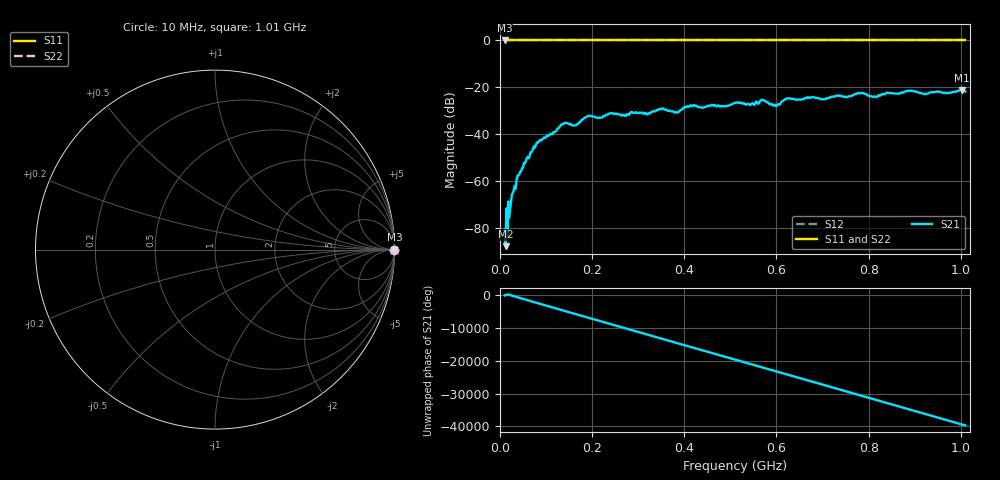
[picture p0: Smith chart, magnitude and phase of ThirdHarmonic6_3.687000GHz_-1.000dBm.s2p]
! 8/17/2025 12:30:02 PM
! C:\ANRITSUVNA\TEMP\TEMP.S2P
! CHANNEL.1
! TR.MEASUREMENT
! RAW.DATA
! RF.CORRECTION.OFF
! AVERAGING.OFF
! IF.BANDWIDTH: 5KHZ
! SWEEPTYPE:  FREQ.SWEEP(Linear)
! Reference Plane Port Info
! PORT:  PORT1  PORT2
! DISTANCE:  0  m  0  m
! TIME:  0  s  0  s
! PHASE.OFFSET:  0  deg.  0  deg.
! LOSS:  0  dB  0  dB
! REF.LOSS:  0  dB  0  dB
! REF.FREQ:  0  Hz  0  Hz
! Power Info
! POWER:  -20  dBm  -20  dBm
! EFF.POWER:  -20  dBm  -20  dBm
! SOURCE.ATTEN:  0  dB  0  dB
! TEST.ATTEN:  0  dB  0  dB
# GHZ S RI R 50.0
! FREQ.GHZ  S11RE  S11IM  S21RE  S21IM  S12RE  S12IM  S22RE  S22IM
!; PortSelection: Port_12
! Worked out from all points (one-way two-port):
!   501 points, 10 MHz to 1.01 GHz, reference 50 ohm
!   highest |S21| = -21.05 dB at 1.002 GHz (marker M1); lowest = -87.5 dB at 12 MHz (marker M2)
!   lowest |S11| = 0.0 dB at 10 MHz (marker M3)
!   |S11| at or under -10 dB: nowhere
!   |S22| runs from 0.0 to 0.0 dB; largest |S21 - S12| = 1.1
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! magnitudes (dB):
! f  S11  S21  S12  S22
! 10 MHz  0.0  -80.4  0.0  0.0
! 12 MHz  0.0  -87.5  0.0  0.0
! 20 MHz  0.0  -75.4  0.0  0.0
! 28 MHz  0.0  -64.9  0.0  0.0
! 40 MHz  0.0  -57.4  0.0  0.0
! 76 MHz  0.0  -45.6  0.0  0.0
! 136 MHz  0.0  -35.7  0.0  0.0
! 162 MHz  0.0  -36.2  0.0  0.0
! 178 MHz  0.0  -33.7  0.0  0.0
! 344 MHz  0.0  -29.5  0.0  0.0
! 384 MHz  0.0  -30.5  0.0  0.0
! 416 MHz  0.0  -28.0  0.0  0.0
! 510 MHz  0.0  -26.6  0.0  0.0
! 570 MHz  0.0  -25.3  0.0  0.0
! 596 MHz  0.0  -27.2  0.0  0.0
! 624 MHz  0.0  -24.7  0.0  0.0
! 678 MHz  0.0  -24.2  0.0  0.0
! 784 MHz  0.0  -22.5  0.0  0.0
! 814 MHz  0.0  -23.8  0.0  0.0
! 844 MHz  0.0  -22.4  0.0  0.0
! 1.002 GHz  0.0  -21.0  0.0  0.0
! 1.01 GHz  0.0  -21.7  0.0  0.0
